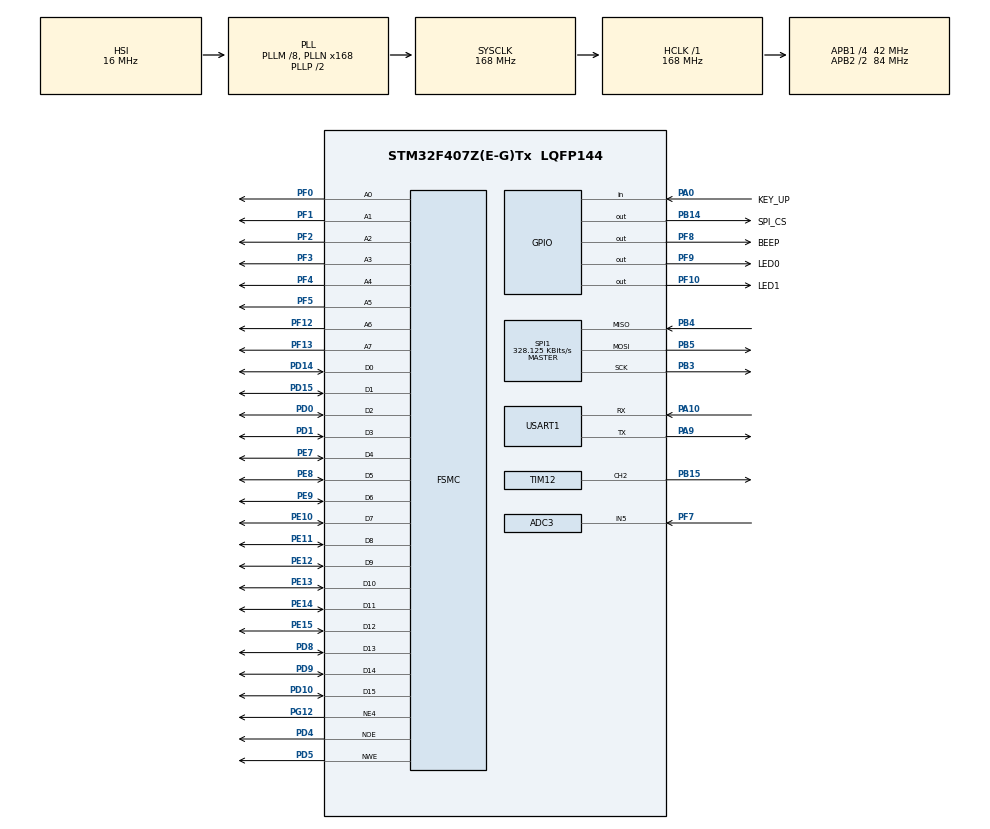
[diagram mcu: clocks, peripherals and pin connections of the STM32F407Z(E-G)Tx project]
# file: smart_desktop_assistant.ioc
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ADC1.Channel-0\#ChannelRegularConversion=ADC_CHANNEL_TEMPSENSOR
ADC1.NbrOfConversionFlag=1
ADC1.Rank-0\#ChannelRegularConversion=1
ADC1.SamplingTime-0\#ChannelRegularConversion=ADC_SAMPLETIME_480CYCLES
ADC1.master=1
ADC3.Channel-1\#ChannelRegularConversion=ADC_CHANNEL_5
ADC3.ContinuousConvMode=ENABLE
ADC3.NbrOfConversionFlag=1
ADC3.Rank-1\#ChannelRegularConversion=1
ADC3.SamplingTime-1\#ChannelRegularConversion=ADC_SAMPLETIME_3CYCLES
FSMC.ExtendedMode1=FSMC_EXTENDED_MODE_ENABLE
FSMC.WriteOperation1=FSMC_WRITE_OPERATION_ENABLE
Mcu.Family=STM32F4
Mcu.Name=STM32F407Z(E-G)Tx
Mcu.Package=LQFP144
NVIC.PriorityGroup=NVIC_PRIORITYGROUP_4
PA0-WKUP.GPIO_Label=KEY_UP
PA0-WKUP.GPIO_PuPd=GPIO_PULLDOWN
PA0-WKUP.Signal=GPIO_Input
PA10.Mode=Asynchronous
PA10.Signal=USART1_RX
PA13.Mode=Serial_Wire
PA13.Signal=SYS_JTMS-SWDIO
PA14.Mode=Serial_Wire
PA14.Signal=SYS_JTCK-SWCLK
PA9.Mode=Asynchronous
PA9.Signal=USART1_TX
PB14.GPIO_Label=SPI_CS
PB14.PinState=GPIO_PIN_SET
PB14.Signal=GPIO_Output
PB15.Signal=S_TIM12_CH2
PB3.Mode=Full_Duplex_Master
PB3.Signal=SPI1_SCK
PB4.Mode=Full_Duplex_Master
PB4.Signal=SPI1_MISO
PB5.Mode=Full_Duplex_Master
PB5.Signal=SPI1_MOSI
PC14-OSC32_IN.Mode=LSE-External-Oscillator
PC14-OSC32_IN.Signal=RCC_OSC32_IN
PC15-OSC32_OUT.Mode=LSE-External-Oscillator
PC15-OSC32_OUT.Signal=RCC_OSC32_OUT
PD0.Signal=FSMC_D2_DA2
PD1.Signal=FSMC_D3_DA3
PD10.Signal=FSMC_D15_DA15
PD14.Signal=FSMC_D0_DA0
PD15.Signal=FSMC_D1_DA1
PD4.Signal=FSMC_NOE
PD5.Signal=FSMC_NWE
PD8.Signal=FSMC_D13_DA13
PD9.Signal=FSMC_D14_DA14
PE10.Signal=FSMC_D7_DA7
PE11.Signal=FSMC_D8_DA8
PE12.Signal=FSMC_D9_DA9
PE13.Signal=FSMC_D10_DA10
PE14.Signal=FSMC_D11_DA11
PE15.Signal=FSMC_D12_DA12
PE7.Signal=FSMC_D4_DA4
PE8.Signal=FSMC_D5_DA5
PE9.Signal=FSMC_D6_DA6
PF0.Signal=FSMC_A0
PF1.Signal=FSMC_A1
PF10.GPIO_Label=LED1
PF10.Signal=GPIO_Output
PF12.Signal=FSMC_A6
PF13.Signal=FSMC_A7
PF2.Signal=FSMC_A2
PF3.Signal=FSMC_A3
PF4.Signal=FSMC_A4
PF5.Signal=FSMC_A5
PF7.Mode=IN5
PF7.Signal=ADC3_IN5
PF8.GPIO_Label=BEEP
PF8.Signal=GPIO_Output
PF9.GPIO_Label=LED0
PF9.PinState=GPIO_PIN_SET
PF9.Signal=GPIO_Output
PG12.Mode=NorPsramChipSelect4_1
PG12.Signal=FSMC_NE4
PH0-OSC_IN.Mode=HSE-External-Oscillator
PH0-OSC_IN.Signal=RCC_OSC_IN
PH1-OSC_OUT.Mode=HSE-External-Oscillator
PH1-OSC_OUT.Signal=RCC_OSC_OUT
ProjectManager.HeapSize=0x200
ProjectManager.StackSize=0x400
ProjectManager.TargetToolchain=CMake
RCC.48MHZClocksFreq_Value=84000000
RCC.AHBFreq_Value=168000000
RCC.APB1CLKDivider=RCC_HCLK_DIV4
RCC.APB1Freq_Value=42000000
RCC.APB1TimFreq_Value=84000000
RCC.APB2CLKDivider=RCC_HCLK_DIV2
RCC.APB2Freq_Value=84000000
RCC.APB2TimFreq_Value=168000000
RCC.CortexFreq_Value=168000000
RCC.HCLKFreq_Value=168000000
RCC.HSE_VALUE=8000000
RCC.HSI_VALUE=16000000
RCC.PLLM=8
RCC.PLLN=168
RCC.RCC_RTC_Clock_Source=RCC_RTCCLKSOURCE_LSE
RCC.RCC_RTC_Clock_SourceVirtual=RCC_RTCCLKSOURCE_LSE
RCC.SYSCLKFreq_VALUE=168000000
RCC.SYSCLKSource=RCC_SYSCLKSOURCE_PLLCLK
RCC.VCOOutputFreq_Value=336000000
SH.FSMC_A0.0=FSMC_A0,8b-a1
SH.FSMC_A1.0=FSMC_A1,8b-a1
SH.FSMC_A2.0=FSMC_A2,8b-a1
SH.FSMC_A3.0=FSMC_A3,8b-a1
SH.FSMC_A4.0=FSMC_A4,8b-a1
SH.FSMC_A5.0=FSMC_A5,8b-a1
SH.FSMC_A6.0=FSMC_A6,8b-a1
SH.FSMC_A7.0=FSMC_A7,8b-a1
SH.FSMC_D0_DA0.0=FSMC_D0,16b-d1
SH.FSMC_D10_DA10.0=FSMC_D10,16b-d1
SH.FSMC_D11_DA11.0=FSMC_D11,16b-d1
SH.FSMC_D12_DA12.0=FSMC_D12,16b-d1
SH.FSMC_D13_DA13.0=FSMC_D13,16b-d1
SH.FSMC_D14_DA14.0=FSMC_D14,16b-d1
SH.FSMC_D15_DA15.0=FSMC_D15,16b-d1
SH.FSMC_D1_DA1.0=FSMC_D1,16b-d1
SH.FSMC_D2_DA2.0=FSMC_D2,16b-d1
SH.FSMC_D3_DA3.0=FSMC_D3,16b-d1
SH.FSMC_D4_DA4.0=FSMC_D4,16b-d1
SH.FSMC_D5_DA5.0=FSMC_D5,16b-d1
SH.FSMC_D6_DA6.0=FSMC_D6,16b-d1
SH.FSMC_D7_DA7.0=FSMC_D7,16b-d1
SH.FSMC_D8_DA8.0=FSMC_D8,16b-d1
SH.FSMC_D9_DA9.0=FSMC_D9,16b-d1
SH.FSMC_NOE.0=FSMC_NOE,Sram1
SH.FSMC_NWE.0=FSMC_NWE,Sram1
SH.S_TIM12_CH2.0=TIM12_CH2,PWM Generation2 CH2
SPI1.BaudRatePrescaler=SPI_BAUDRATEPRESCALER_256
SPI1.CLKPhase=SPI_PHASE_2EDGE
SPI1.CLKPolarity=SPI_POLARITY_HIGH
SPI1.CalculateBaudRate=328.125 KBits/s
SPI1.Direction=SPI_DIRECTION_2LINES
SPI1.Mode=SPI_MODE_MASTER
SPI1.VirtualType=VM_MASTER
TIM12.Channel-PWM\ Generation2\ CH2=TIM_CHANNEL_2
TIM12.Period=10000
TIM12.Prescaler=83
USART1.VirtualMode=VM_ASYNC
VP_ADC1_TempSens_Input.Mode=IN-TempSens
VP_RTC_VS_RTC_Activate.Mode=RTC_Enabled
VP_RTC_VS_RTC_Calendar.Mode=RTC_Calendar
board=custom

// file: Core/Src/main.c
/* USER CODE BEGIN Header */
/**
 ******************************************************************************
 * @file           : main.c
 * @brief          : Main program body
 ******************************************************************************
 * @attention
 *
 * Copyright (c) 2026 STMicroelectronics.
 * All rights reserved.
 *
 * This software is licensed under terms that can be found in the LICENSE file
 * in the root directory of this software component.
 * If no LICENSE file comes with this software, it is provided AS-IS.
 *
 ******************************************************************************
 */
/* USER CODE END Header */
#include "main.h"
#include "adc.h"
#include "rtc.h"
#include "spi.h"
#include "tim.h"
#include "usart.h"
#include "gpio.h"
#include "fsmc.h"

/* USER CODE BEGIN Includes */
#include "lcd.h"
#include "touch.h"
#include <stdint.h>
#include <stdio.h>

#define V25 0.76f
#define AVG_SLOPE 0.0025f
#define SPI_CS_LOW() HAL_GPIO_WritePin(GPIOB, GPIO_PIN_14, GPIO_PIN_RESET)
#define SPI_CS_HIGH() HAL_GPIO_WritePin(GPIOB, GPIO_PIN_14, GPIO_PIN_SET)
#define GRAPH_POINTS 100 // 趋势图的点数
/* USER CODE END Includes */

/* USER CODE BEGIN PV */
static uint32_t g_fac_us = 168; // 微秒延时的倍乘数
uint32_t pwm_val = 0;
uint16_t adc_val = 0;
uint16_t temp_adc = 0;
float temp_history[GRAPH_POINTS]; // 存储历史温度的数组
uint8_t temp_index = 0;           // 当前记录到的位置
uint8_t gui_mode = 0;             // 0: 主界面, 1: 温度趋势图界面
uint32_t last_log_time = 0;       // 用于后台定时记录温度
float safety_threshold = 50.0f;   // 安全温度
/* USER CODE END PV */

void SystemClock_Config(void);
/* USER CODE BEGIN PFP */
uint16_t W25QXX_ReadID(void);
void W25QXX_Read(uint32_t addr, uint8_t *pBuffer, uint16_t len);
void W25QXX_Write(uint32_t addr, uint8_t *pBuffer, uint16_t len);
void W25QXX_EraseSector(uint32_t addr);
void UI_DrawProgressBar(uint16_t x, uint16_t y, uint16_t w, uint16_t h, uint8_t percent, uint16_t color);
void UI_DrawTrendGraph(uint16_t x, uint16_t y, uint16_t w, uint16_t h);
void LCD_Reset(void);
/* USER CODE END PFP */

int main(void)
{

  /* USER CODE BEGIN 1 */
  uint16_t temp_color = 0;
  float max_temp_record = 0.0f; // 历史最高温
  float current_temp = 0.0f;    // 目前温度
  /* USER CODE END 1 */

  /* MCU Configuration--------------------------------------------------------*/

  /* Reset of all peripherals, Initializes the Flash interface and the Systick. */
  HAL_Init();

  /* Configure the system clock */
  SystemClock_Config();

  /* Initialize all configured peripherals */
  MX_GPIO_Init();
  MX_ADC1_Init();
  MX_ADC3_Init();
  MX_FSMC_Init();
  MX_TIM12_Init();
  MX_USART1_UART_Init();
  MX_RTC_Init();
  MX_SPI1_Init();
  /* USER CODE BEGIN 2 */
  tp_dev.init();
  __HAL_RCC_PWR_CLK_ENABLE();
  HAL_PWR_EnableBkUpAccess();
  W25QXX_Read(0x000000, (uint8_t *)&max_temp_record, 4);

  // 如果是第一次使用，读取到的可能是非法值 (NaN)
  if (max_temp_record < 0 || max_temp_record > 100) {
    max_temp_record = 0.0f;
  }

  printf("History Max Temp: %.2f\r\n", max_temp_record);

  HAL_TIM_PWM_Start(&htim12, TIM_CHANNEL_2); // 启动背光调试

  printf("LCD初始化中……\n");
  lcd_init();
  printf("初始化完成\n");

  // 读取flash ID
  printf("Reading W25Q128 ID...\r\n");
  uint16_t flash_id = W25QXX_ReadID();
  printf("Flash ID: 0x%X\r\n", flash_id);

  __HAL_TIM_SET_COMPARE(&htim12, TIM_CHANNEL_2, 6000);
  lcd_clear(WHITE);

  // 在屏幕上显示ID
  lcd_show_string(30, 220, 200, 16, 16, "Flash ID:", BLACK);
  if (flash_id == 0xEF17) {
    lcd_show_string(110, 220, 200, 16, 16, "0xEF17 (OK)", BLUE);
  } else {
    // 如果显示 0x0000 或 0xFFFF 说明 SPI 没通
    lcd_show_xnum(110, 220, flash_id, 4, 16, 0, RED);
  }
  HAL_Delay(2000);

  lcd_clear(WHITE);
  // lcd_show_string(30, 50, 200, 16, 16, "Explorer F407", RED);
  // lcd_show_string(30, 70, 200, 16, 16, "VSCode + CMake", BLUE);
  HAL_Delay(1000);

  RTC_TimeTypeDef sTime = {0};
  RTC_DateTypeDef sDate = {0};

  // //设置初始化时间
  // sTime.Hours = 19;
  // sTime.Minutes = 53;
  // sTime.Seconds = 00;
  // sTime.DayLightSaving = RTC_DAYLIGHTSAVING_NONE;
  // sTime.StoreOperation = RTC_STOREOPERATION_RESET;
  // if (HAL_RTC_SetTime(&hrtc, &sTime,RTC_FORMAT_BIN))
  // {
  //   Error_Handler();
  // }
  // sDate.WeekDay = RTC_WEEKDAY_TUESDAY;
  // sDate.Month = 01;
  // sDate.Date = 13;
  // sDate.Year = 26;
  // if (HAL_RTC_SetDate(&hrtc, &sDate,RTC_FORMAT_BIN))
  // {
  //   Error_Handler();
  // }
  HAL_RTCEx_BKUPWrite(&hrtc, RTC_BKP_DR0, 0x5050);
  if (HAL_RTCEx_BKUPRead(&hrtc, RTC_BKP_DR0) != 0x5050) {
    if (HAL_RTC_SetTime(&hrtc, &sTime, RTC_FORMAT_BIN)) {
      Error_Handler();
    }
    if (HAL_RTC_SetDate(&hrtc, &sDate, RTC_FORMAT_BIN)) {
      Error_Handler();
    }
    HAL_RTCEx_BKUPWrite(&hrtc, RTC_BKP_DR0, 0x5050);
  } else {
    printf("RTC已在运行，跳过时间设置\n");
  }

  /* USER CODE END 2 */

  /* Infinite loop */
  while (1) {

    /* USER CODE BEGIN 3 */

    // 背光调节功能
    HAL_ADC_Start(&hadc3);
    if (HAL_ADC_PollForConversion(&hadc3, 10) == HAL_OK) {
      adc_val = HAL_ADC_GetValue(&hadc3); // 读取传感器数值
    } // 指定adc轮询
    HAL_ADC_Stop(&hadc3);
    // 接下来实现adc越小，背光越亮
    if (adc_val > 4000) {
      adc_val = 4000;
    }
    pwm_val = 10000 - (adc_val * 5) / 2;
    if (pwm_val < 1000) {
      pwm_val = 1000;
    }
    if (pwm_val > 8000) {
      pwm_val = 8000;
    }
    __HAL_TIM_SET_COMPARE(&htim12, TIM_CHANNEL_2, pwm_val);

    // 内部温度监控功能
    // 接下来读取内部温度
    HAL_ADC_Start(&hadc1);
    if (HAL_ADC_PollForConversion(&hadc1, 10) == HAL_OK) {
      temp_adc = HAL_ADC_GetValue(&hadc1); // 读取传感器数值
      float temp_vol = (float)temp_adc * (3.3f / 4096.0f); // 换算成温度电压值
      current_temp = (temp_vol - V25) / AVG_SLOPE + 25; // 计算温度
    }
    HAL_ADC_Stop(&hadc1);

    if (HAL_GetTick() - last_log_time > 1000) // 每秒记录一次
    {
      last_log_time = HAL_GetTick();

      // 将旧数据前移
      for (int i = 0; i < GRAPH_POINTS - 1; i++) {
        temp_history[i] = temp_history[i + 1];
      }
      // 加入最新数据
      temp_history[GRAPH_POINTS - 1] = current_temp;

      if (current_temp > max_temp_record) {
        max_temp_record = current_temp;
        W25QXX_Write(0x000000, (uint8_t *)&max_temp_record, 4);
        printf("New Record Saved:%.2f\r\n", max_temp_record);
      }
    }

    // 自动报警系统
    if (current_temp > safety_threshold) {
      HAL_GPIO_WritePin(BEEP_GPIO_Port, BEEP_Pin, GPIO_PIN_SET);   // 蜂鸣器
      HAL_GPIO_WritePin(LED0_GPIO_Port, LED0_Pin, GPIO_PIN_RESET); // 灯亮
      temp_color = RED;
    } else if (current_temp > 42) {
      temp_color = MAGENTA;
    } else {
      HAL_GPIO_WritePin(BEEP_GPIO_Port, BEEP_Pin, GPIO_PIN_RESET); // 停止鸣叫
      HAL_GPIO_WritePin(LED0_GPIO_Port, LED0_Pin, GPIO_PIN_SET);   // 灯灭
    }
    HAL_ADC_Stop(&hadc1);

    // 屏幕校准功能
    LCD_Reset();

    // 重置功能
    // 按钮显示
    lcd_draw_rectangle(150, 280, 220, 310, RED);
    lcd_show_string(165, 285, 200, 16, 16, "RESET", RED);
    // 触摸交互
    tp_dev.scan(0);                // 扫描触摸屏
    if (tp_dev.sta & TP_PRES_DOWN) // 如果按下
    {
      // 检查触摸点是否在按钮区域内
      if (tp_dev.x[0] > 150 && tp_dev.x[0] < 220 && tp_dev.y[0] > 280 &&
          tp_dev.y[0] < 310) {
        // 1. 执行清除逻辑
        max_temp_record = 0.0f;
        W25QXX_EraseSector(0x000000); // 擦除 Flash 记录

        // 2.视觉反馈
        lcd_clear(RED);
        HAL_Delay(100);
        lcd_clear(WHITE);
      }
    }

    if (gui_mode == 0) {
      // 在屏幕上显示
      lcd_show_string(30, 240, 200, 16, 16, "Max Record:", BLACK);
      lcd_show_num(120, 240, (int)max_temp_record, 2, 16, MAGENTA);
      lcd_show_string(140, 240, 200, 16, 16, "C", MAGENTA);
      lcd_show_string(30, 90, 200, 16, 16, "Temp:", BLACK);
      lcd_show_num(120, 90, (uint32_t)current_temp, 2, 16, RED);
      lcd_show_string(140, 90, 200, 16, 16, " C", RED);

      // 温度趋势图按钮
      lcd_draw_rectangle(10, 280, 80, 310, GREEN);
      lcd_show_string(25, 285, 200, 16, 16, "Temp", GREEN);

      // 日期显示功能
      HAL_RTC_GetTime(&hrtc, &sTime, RTC_FORMAT_BIN);
      HAL_RTC_GetDate(&hrtc, &sDate, RTC_FORMAT_BIN);

      char date_str[30]; // 定义一个足够长的字符数组

      // 格式化字符串
      // %02d: 2位数字，不足补0
      // sDate.Year 只有后两位(比如23)，所以前面手动加 "20" 变成 "2023"
      sprintf(date_str, "20%02d-%02d-%02d", sDate.Year, sDate.Month,
              sDate.Date);

      // // 显示在屏幕上 (假设显示在时间上方，y=150的位置)
      // // 字体用 16号小字，颜色用黑色
      lcd_show_string(60, 150, 200, 16, 16, date_str, BLACK);

      char time_str[20];
      sprintf(time_str, "%02d:%02d:%02d", sTime.Hours, sTime.Minutes,
              sTime.Seconds);
      lcd_show_string(50, 180, 200, 24, 24, time_str, BLUE);

      // 光照强度显示功能
      uint8_t light_percent = 100 - (adc_val * 100 / 4095);
      lcd_show_string(30, 50, 200, 16, 16, "Light Intensity:", BLACK);
      UI_DrawProgressBar(30, 70, 180, 15, light_percent, YELLOW);

      tp_dev.scan(0);                // 扫描触摸屏
      if (tp_dev.sta & TP_PRES_DOWN) // 如果按下
      {
        if (tp_dev.x[0] > 10 && tp_dev.x[0] < 80 && tp_dev.y[0] > 280 &&tp_dev.y[0] < 310) {
          gui_mode = 1;
          lcd_clear(WHITE);
          HAL_Delay(50);
        }
      }
    }
    else if (gui_mode == 1) {
        lcd_show_string(30, 85, 200, 16, 16, "Temp Trend (60s):", BLACK);
        lcd_fill(30, 100, 230, 180, WHITE);
        UI_DrawTrendGraph(30, 180, 200, 80);

        lcd_show_string(30, 200, 200, 16, 16, "Temp:", BLACK);
        lcd_show_num(100, 200, (uint32_t)current_temp, 2, 16, RED);
        lcd_show_string(120, 200, 200, 16, 16, " C", RED);
        lcd_show_string(30, 240, 200, 16, 16, "Max Record:", BLACK);
        lcd_show_num(120, 240, (int)max_temp_record, 2, 16, MAGENTA);
        lcd_show_string(140, 240, 200, 16, 16, "C", MAGENTA);
        // 显示退出按钮
        lcd_draw_rectangle(10, 280, 80, 310, RED);
        lcd_show_string(25, 285, 200, 16, 16, "EXIT", RED);

        tp_dev.scan(0);                // 扫描触摸屏
        if (tp_dev.sta & TP_PRES_DOWN) // 如果按下
        {
          if (tp_dev.x[0] > 10 && tp_dev.x[0] < 80 && tp_dev.y[0] > 280 &&
              tp_dev.y[0] < 310) {
            gui_mode = 0;
            lcd_clear(WHITE);
            HAL_Delay(50);
          }
        }
    }
      HAL_GPIO_TogglePin(LED1_GPIO_Port, LED1_Pin);
      HAL_Delay(50 + (adc_val / 40));
    }
  }
  /* USER CODE END 3 */

void SystemClock_Config(void)
{
  RCC_OscInitTypeDef RCC_OscInitStruct = {0};
  RCC_ClkInitTypeDef RCC_ClkInitStruct = {0};

  /** Configure the main internal regulator output voltage
  */
  __HAL_RCC_PWR_CLK_ENABLE();
  __HAL_PWR_VOLTAGESCALING_CONFIG(PWR_REGULATOR_VOLTAGE_SCALE1);

  /** Initializes the RCC Oscillators according to the specified parameters
  * in the RCC_OscInitTypeDef structure.
  */
  RCC_OscInitStruct.OscillatorType = RCC_OSCILLATORTYPE_HSI|RCC_OSCILLATORTYPE_LSE;
  RCC_OscInitStruct.LSEState = RCC_LSE_ON;
  RCC_OscInitStruct.HSIState = RCC_HSI_ON;
  RCC_OscInitStruct.HSICalibrationValue = RCC_HSICALIBRATION_DEFAULT;
  RCC_OscInitStruct.PLL.PLLState = RCC_PLL_ON;
  RCC_OscInitStruct.PLL.PLLSource = RCC_PLLSOURCE_HSI;
  RCC_OscInitStruct.PLL.PLLM = 8;
  RCC_OscInitStruct.PLL.PLLN = 168;
  RCC_OscInitStruct.PLL.PLLP = RCC_PLLP_DIV2;
  RCC_OscInitStruct.PLL.PLLQ = 4;
  if (HAL_RCC_OscConfig(&RCC_OscInitStruct) != HAL_OK)
  {
    Error_Handler();
  }

  /** Initializes the CPU, AHB and APB buses clocks
  */
  RCC_ClkInitStruct.ClockType = RCC_CLOCKTYPE_HCLK|RCC_CLOCKTYPE_SYSCLK
                              |RCC_CLOCKTYPE_PCLK1|RCC_CLOCKTYPE_PCLK2;
  RCC_ClkInitStruct.SYSCLKSource = RCC_SYSCLKSOURCE_PLLCLK;
  RCC_ClkInitStruct.AHBCLKDivider = RCC_SYSCLK_DIV1;
  RCC_ClkInitStruct.APB1CLKDivider = RCC_HCLK_DIV4;
  RCC_ClkInitStruct.APB2CLKDivider = RCC_HCLK_DIV2;

  if (HAL_RCC_ClockConfig(&RCC_ClkInitStruct, FLASH_LATENCY_5) != HAL_OK)
  {
    Error_Handler();
  }
}

/* USER CODE BEGIN 4 */
  // SPI读写函数
  uint8_t SPI1_ReadWriteByte(uint8_t tx_data) {
    uint8_t rx_data = 0;
    // 发送 tx_data，同时接收 rx_data，超时 100ms
    HAL_SPI_TransmitReceive(&hspi1, &tx_data, &rx_data, 1, 100);
    return rx_data;
  }

  // 读取芯片ID
  uint16_t W25QXX_ReadID(void) {
    uint16_t temp = 0;

    SPI_CS_LOW();             // 1. 拉低片选，选中芯片
    SPI1_ReadWriteByte(0x90); // 2. 发送命令：读ID (0x90)
    SPI1_ReadWriteByte(0x00); // 3. 发送 24位 假地址 (0,0,0)
    SPI1_ReadWriteByte(0x00);
    SPI1_ReadWriteByte(0x00);

    // 4. 接收数据
    temp |= SPI1_ReadWriteByte(0xFF) << 8; // 读高8位 (厂家ID)
    temp |= SPI1_ReadWriteByte(0xFF);      // 读低8位 (设备ID)

    SPI_CS_HIGH(); // 5. 拉高片选，结束通信
    return temp;
  }
  // 写使能Flash
  void W25QXX_WriteEnable(void) {
    SPI_CS_LOW();
    SPI1_ReadWriteByte(0x06); // 发送写使能命令
    SPI_CS_HIGH();
  }
  // 等待芯片作用完毕
  void W25QXX_WaitBusy(void) {
    uint8_t status = 0;
    do {
      SPI_CS_LOW();
      SPI1_ReadWriteByte(0x05); // 读状态寄存器1
      status = SPI1_ReadWriteByte(0xFF);
      SPI_CS_HIGH();
    } while (status & 0x01); // BIT0 为 1 表示忙
  }
  // 擦除一个扇区
  void W25QXX_EraseSector(uint32_t addr) {
    W25QXX_WriteEnable();
    W25QXX_WaitBusy();
    SPI_CS_LOW();
    SPI1_ReadWriteByte(0x20);                  // 扇区擦除命令
    SPI1_ReadWriteByte((uint8_t)(addr >> 16)); // 发送24位地址
    SPI1_ReadWriteByte((uint8_t)(addr >> 8));
    SPI1_ReadWriteByte((uint8_t)addr);
    SPI_CS_HIGH();
    W25QXX_WaitBusy(); // 等待擦除完成
  }
  // 在指定地址写入数据
  void W25QXX_Write(uint32_t addr, uint8_t *pBuffer, uint16_t len) {
    W25QXX_EraseSector(addr); // 先擦除
    W25QXX_WriteEnable();
    SPI_CS_LOW();
    SPI1_ReadWriteByte(0x02); // 页编程命令
    SPI1_ReadWriteByte((uint8_t)(addr >> 16));
    SPI1_ReadWriteByte((uint8_t)(addr >> 8));
    SPI1_ReadWriteByte((uint8_t)addr);
    for (uint16_t i = 0; i < len; i++)
      SPI1_ReadWriteByte(pBuffer[i]);
    SPI_CS_HIGH();
    W25QXX_WaitBusy();
  }
  // 读取数据
  void W25QXX_Read(uint32_t addr, uint8_t *pBuffer, uint16_t len) {
    SPI_CS_LOW();
    SPI1_ReadWriteByte(0x03); // 读取命令
    SPI1_ReadWriteByte((uint8_t)(addr >> 16));
    SPI1_ReadWriteByte((uint8_t)(addr >> 8));
    SPI1_ReadWriteByte((uint8_t)addr);
    for (uint16_t i = 0; i < len; i++)
      pBuffer[i] = SPI1_ReadWriteByte(0xFF);
    SPI_CS_HIGH();
  }

  void delay_us(uint32_t nus) {
    uint32_t ticks;
    uint32_t told, tnow, tcnt = 0;
    uint32_t reload = SysTick->LOAD; // LOAD的值
    ticks = nus * g_fac_us;          // 需要的节拍数
    told = SysTick->VAL;
    while (1) {
      tnow = SysTick->VAL;
      if (tnow != told) {
        if (tnow < told) {
          tcnt += told - tnow; // 这里注意 SysTick 是向下递减计数的
        } else {
          tcnt += reload - tnow + told;
        }
        told = tnow;
        if (tcnt >= ticks)
          break; // 时间超过/等于要延时的时间,则退出
      }
    }
  }

  // 绘制进度条函数
  void UI_DrawProgressBar(uint16_t x, uint16_t y, uint16_t w, uint16_t h,
                          uint8_t percent, uint16_t color) {
    if (percent > 100)
      percent = 100;
    // 1. 画外框
    lcd_draw_rectangle(x, y, x + w, y + h, BLACK);
    // 2. 清除背景（白色）
    lcd_fill(x + 1, y + 1, x + w - 1, y + h - 1, WHITE);
    // 3. 填充进度
    if (percent > 0) {
      uint16_t fill_w = (w - 2) * percent / 100;
      lcd_fill(x + 1, y + 1, x + fill_w, y + h - 1, color);
    }
  }

  // 绘制温度变化图函数
  void UI_DrawTrendGraph(uint16_t x, uint16_t y, uint16_t w, uint16_t h) {
    // 1. 画坐标轴
    lcd_draw_line(x, y, x + w, y, BLACK); // X轴
    lcd_draw_line(x, y, x, y - h, BLACK); // Y轴

    uint16_t alert_y = y - (uint16_t)((50.0f - 20) * h / 60);
    lcd_draw_line(x, alert_y, x + w, alert_y, RED);

    // 2. 绘制数据点之间的连线
    for (uint8_t i = 0; i < GRAPH_POINTS - 1; i++) {
      // 计算当前点和下一个点的坐标
      // X坐标：起点 + (间距 * 索引)
      uint16_t x1 = x + (i * w / GRAPH_POINTS);
      uint16_t x2 = x + ((i + 1) * w / GRAPH_POINTS);

      // Y坐标映射 (高度范围 20~80度)
      float t1 = temp_history[i];
      float t2 = temp_history[i + 1];

      // 限幅处理
      if (t1 < 20)
        t1 = 20;
      if (t1 > 80)
        t1 = 80;
      if (t2 < 20)
        t2 = 20;
      if (t2 > 80)
        t2 = 80;

      uint16_t y1 = y - (uint16_t)((t1 - 20) * h / 60);
      uint16_t y2 = y - (uint16_t)((t2 - 20) * h / 60);

      uint16_t line_color = (t1 > safety_threshold || t2 > safety_threshold) ? RED : BLUE;
      // 如果数据有效（不为0），则画线
      if (t1 > 0 && t2 > 0) {
        lcd_draw_line(x1, y1, x2, y2, line_color);
      }
    }
  }
  void LCD_Reset(void) {
    static uint16_t key_up_press_count = 0;
    if (HAL_GPIO_ReadPin(GPIOA, GPIO_PIN_0) == GPIO_PIN_SET) // 如果按键按下
    {
      key_up_press_count++;
      if (key_up_press_count > 10) { // 按住超过 0.5 秒开始显示
        lcd_show_string(30, 10, 200, 16, 16, "Calibrating...", RED);
        lcd_fill(30, 30, 30 + (key_up_press_count * 2), 35, RED);
      }
    } else {
      if (key_up_press_count > 0) // 如果之前显示过提示，松开时清除它
      {
        lcd_fill(30, 10, 230, 40, WHITE); // 擦除提示区域
      }
      key_up_press_count = 0; // 计数归零
    }
    if (key_up_press_count >= 40) {
      key_up_press_count = 0; // 触发前先归零
      HAL_GPIO_WritePin(GPIOF, GPIO_PIN_8,
                        GPIO_PIN_SET); // 蜂鸣器响一声提示进入
      HAL_Delay(100);
      HAL_GPIO_WritePin(GPIOF, GPIO_PIN_8, GPIO_PIN_RESET);

      printf("Entering Calibration from Loop...\r\n");

      tp_adjust(); // 执行校准（这个函数是阻塞的，直到校准完成）

      // 【关键】校准完后，屏幕被 tp_adjust 弄乱了，必须重新绘制你的 UI
      lcd_clear(WHITE);
      lcd_draw_rectangle(150, 280, 220, 310, RED);
      lcd_show_string(160, 285, 200, 16, 16, "RESET", RED);
    }
  }
/* USER CODE END 4 */

void Error_Handler(void)
{
  /* USER CODE BEGIN Error_Handler_Debug */
    /* User can add his own implementation to report the HAL error return state
     */
    __disable_irq();
    while (1) {
    }
  /* USER CODE END Error_Handler_Debug */
}
#ifdef USE_FULL_ASSERT
/**
  * @brief  Reports the name of the source file and the source line number
  *         where the assert_param error has occurred.
  * @param  file: pointer to the source file name
  * @param  line: assert_param error line source number
  * @retval None
  */
void assert_failed(uint8_t *file, uint32_t line)
{
  /* USER CODE BEGIN 6 */
    /* User can add his own implementation to report the file name and line
       number, ex: printf("Wrong parameters value: file %s on line %d\r\n",
       file, line) */
  /* USER CODE END 6 */
}
#endif /* USE_FULL_ASSERT */
